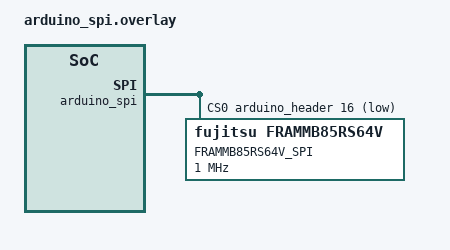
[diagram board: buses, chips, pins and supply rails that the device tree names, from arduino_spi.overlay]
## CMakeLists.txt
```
# SPDX-License-Identifier: Apache-2.0

cmake_minimum_required(VERSION 3.20.0)
find_package(Zephyr REQUIRED HINTS $ENV{ZEPHYR_BASE})
project(frammb85rs64v)

FILE(GLOB app_sources src/*.c)
target_sources(app PRIVATE ${app_sources})
```

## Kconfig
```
# Copyright (c) 2020, Nordic Semiconductor ASA
# SPDX-License-Identifier: Apache-2.0

config LOG
	default y

config LOG_PRINTK
	default y

config SENSOR_LOG_LEVEL
	default 4

config SPI
	default y

source "Kconfig.zephyr"
```

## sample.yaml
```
sample:
  name: FRAMMB85RS64V Sensor sample
tests:
  sample.sensor.frammb85rs64v:
    tags: drivers fram
    harness: fram
    depends_on: fram frammb85rs64v
    filter: dt_alias_exists("spi_0")
```

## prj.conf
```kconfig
CONFIG_FRAMMB85RS64V=y
CONFIG_FRAM=y
CONFIG_SENSOR=y
```

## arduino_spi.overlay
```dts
/*
 * Copyright (c) 2020, Nordic Semiconductor ASA
 *
 * SPDX-License-Identifier: Apache-2.0
 */

/* Example configuration of a FRAMMB85RS64V device on an Arduino SPI bus. */

&arduino_spi {
	status = "okay";
	cs-gpios = <&arduino_header 16 GPIO_ACTIVE_LOW>;
	frammb85rs64v@0 {
		compatible = "fujitsu,frammb85rs64v";
		reg = <0>;
		label = "FRAMMB85RS64V_SPI";
		spi-max-frequency = <1000000>; /* conservatively set to 1MHz */
	};
};
```

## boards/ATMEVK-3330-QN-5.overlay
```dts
/*
 * Copyright (c) 2022 Atmosic
 *
 * SPDX-License-Identifier: Apache-2.0
 */

&spi0 {
	status = "okay";
	frammb85rs64v@0 {
		compatible = "fujitsu,frammb85rs64v";
		reg = <0>;
		label = "FRAMMB85RS64V_SPI";
		spi-max-frequency = <1000000>;
	};
};
```

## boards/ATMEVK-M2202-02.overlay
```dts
/*
 * Copyright (c) 2023 Atmosic
 *
 * SPDX-License-Identifier: Apache-2.0
 */

&spi0 {
	status = "okay";
	frammb85rs64v@0 {
		compatible = "fujitsu,frammb85rs64v";
		reg = <0>;
		label = "FRAMMB85RS64V_SPI";
		spi-max-frequency = <1000000>;
	};
};
```

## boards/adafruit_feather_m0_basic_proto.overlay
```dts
/*
 * Copyright (c) 2020 Jacek Ozimek <jacek.ozmk@gmail.com>
 *
 * SPDX-License-Identifier: Apache-2.0
 */

&feather_i2c {
	frammb85rs64v: frammb85rs64v@76 {
		/* 0x76 - SDO <-> GND */
		/* 0x77 - SDO <-> VCC */
		compatible = "fujitsu,frammb85rs64v";
		reg = <0x76>;
		label = "FRAM_SENSOR";
	};
};
```

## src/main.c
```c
/*
 * Copyright (c) 2016 Intel Corporation
 *
 * SPDX-License-Identifier: Apache-2.0
 */

#include <errno.h>
#include <zephyr/kernel.h>
#include <zephyr/sys/printk.h>
#include <zephyr/device.h>
#include <drivers/fram.h>
#include <zephyr/drivers/spi.h>
#include <zephyr/devicetree.h>
#include <zephyr/drivers/sensor.h>

/*
 * Get a device structure from a devicetree node with compatible
 * "fujitsu,frammb85rs64v". (If there are multiple, just pick one.)
 */
static const struct device *get_frammb85rs64v_device(void)
{
	const struct device *dev = DEVICE_DT_GET_ANY(fujitsu_frammb85rs64v);

	if (dev == NULL) {
		/* No such node, or the node does not have status "okay". */
		printk("\nError: no device found.\n");
		return NULL;
	}

	if (!device_is_ready(dev)) {
		printk("\nError: Device \"%s\" is not ready; "
		       "check the driver initialization logs for errors.\n",
		       dev->name);
		return NULL;
	}

	printk("Found device \"%s\", getting sensor data\n", dev->name);
	return dev;
}

int main(void)
{
	const struct device *dev = get_frammb85rs64v_device();

	if (dev == NULL) {
		return 0;
	}

	uint16_t addr = 0x0124;
	const uint8_t send_data[] = { 0xAA, 0x55, 0xAB };
	uint32_t len = sizeof(send_data) / sizeof(uint8_t);
	uint8_t receive_data[len];
	int err;
	err = fram_write(dev, addr, send_data, len);
	if (err) {
		printk("Error writing to FRAM! error code (%d)\n", err);
		return 0;
	} else {
		printk("Wrote %" PRIu32 " bytes to address 0x%X.\n", len, addr);
	}
	err = fram_read(dev, addr, receive_data, len);
	if (err) {
		printk("Error reading from FRAM! error code (%d)\n", err);
		return 0;
	} else {
		printk("Read %" PRIu32 " bytes to address 0x%X.\n", len, addr);
	}
	err = 0;
	for (int i = 0; i < len; i++) {
		if (send_data[i] != receive_data[i]) {
			printk("Data comparison failed @ %d.\n", i);
			err = -EIO;
		}
	}
	if (err == 0) {
		printk("Data comparison successful.\n");
	}

	return 0;
}
```
